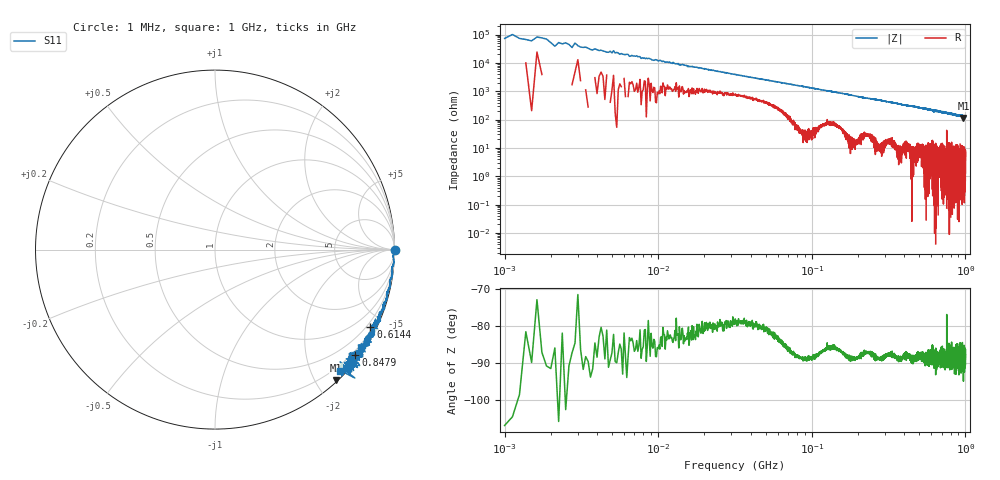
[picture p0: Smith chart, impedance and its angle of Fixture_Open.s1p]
! ListType=Lin
# MHz S RI R 50
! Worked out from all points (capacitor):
!   8001 points, 1 MHz to 1 GHz, reference 50 ohm
!   read as one part to ground: C = 1.31 pF near 5.995 MHz
!   lowest |Z| = 115 ohm at 970.9 MHz (marker M1)
!   S11 on the Smith chart (normalised r, x): 1 MHz: open; 614.4 MHz: 0.31, -4.23; 847.9 MHz: 0.11, -2.99; 1 GHz: 0.10, -2.46
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1  1 -0.00131
125.875  0.9891 -0.0954
250.75  0.9765 -0.1857
375.625  0.9559 -0.2743
412.9626  0.9444 -0.2986
452.7978  0.9448 -0.3291
500.5  0.9186 -0.3596
556.9435  0.9018 -0.3913
614.386  0.8661 -0.4312
625.375  0.9077 -0.4443
651.0992  0.8905 -0.465
693.1821  0.8391 -0.4928
724.0263  0.8491 -0.5243
750.25  0.8379 -0.5277
780.0951  0.8228 -0.545
814.4357  0.8093 -0.5616
820.9293  0.8117 -0.5678
837.5376  0.7924 -0.5626
847.9022  0.7818 -0.5889
862.5126  0.7927 -0.5986
875.125  0.7765 -0.6035
894.6055  0.7444 -0.5962
908.7164  0.767 -0.6178
923.5765  0.7874 -0.6226
942.1829  0.7226 -0.6172
970.9041  0.6758 -0.7276
985.2648  0.7148 -0.7085
1000  0.6977 -0.6763
